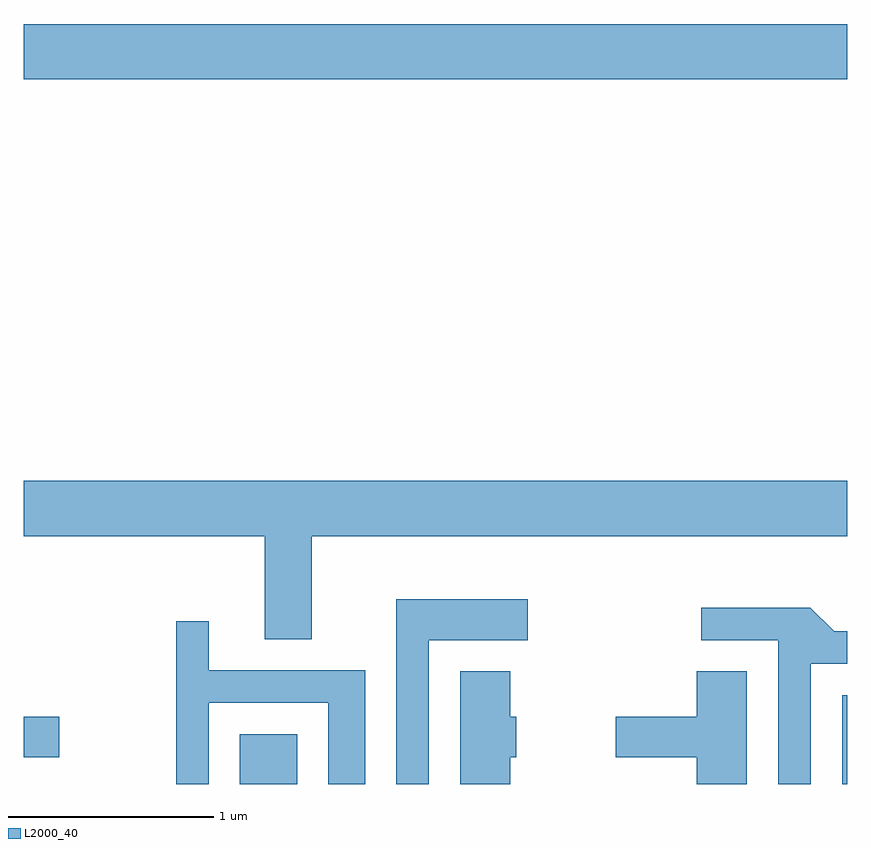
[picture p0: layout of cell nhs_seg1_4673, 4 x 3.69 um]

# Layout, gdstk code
import gdstk
lib = gdstk.Library(unit=1e-6, precision=1e-09)
def R(c, l, rs):  # rectangles x0, y0, x1, y1
    for r in rs: c.add(gdstk.rectangle(r[:2], r[2:], *l))
def P(c, l, *ps):  # polygons
    for p in ps: c.add(gdstk.Polygon(p, *l))
L2000_40 = (2000, 40)

nhs_seg1_4673 = lib.new_cell('nhs_seg1_4673')
R(nhs_seg1_4673, L2000_40, [(326.661,891.712,326.939,891.954), (329.586,891.712,329.611,892.144), (325.611,891.841,325.784,892.039), (325.611,895.136,329.611,895.404)])
P(nhs_seg1_4673, L2000_40, [(327.009,892.916),(329.611,892.916),(329.611,893.184),(325.611,893.184),(325.611,892.916),(326.781,892.916),(326.781,892.416),(327.009,892.416)],
  [(327.579,892.411),(328.059,892.411),(328.059,892.609),(327.421,892.609),(327.421,891.712),(327.579,891.712)],
  [(329.434,892.296),(329.611,892.296),(329.611,892.454),(329.547,892.454),(329.432,892.569),(328.903,892.569),(328.903,892.411),(329.276,892.411),(329.276,891.712),(329.434,891.712)],
  [(326.509,892.106),(327.091,892.106),(327.091,891.712),(327.269,891.712),(327.269,892.264),(326.509,892.264),(326.509,892.503),(326.351,892.503),(326.351,891.712),(326.509,891.712)],
  [(329.124,892.259),(328.881,892.259),(328.881,892.039),(328.486,892.039),(328.486,891.841),(328.881,891.841),(328.881,891.712),(329.124,891.712)],
  [(327.974,891.841),(328.004,891.841),(328.004,892.039),(327.974,892.039),(327.974,892.259),(327.731,892.259),(327.731,891.712),(327.974,891.712)])

lib.write_gds('nhs_seg1_4673.gds')
